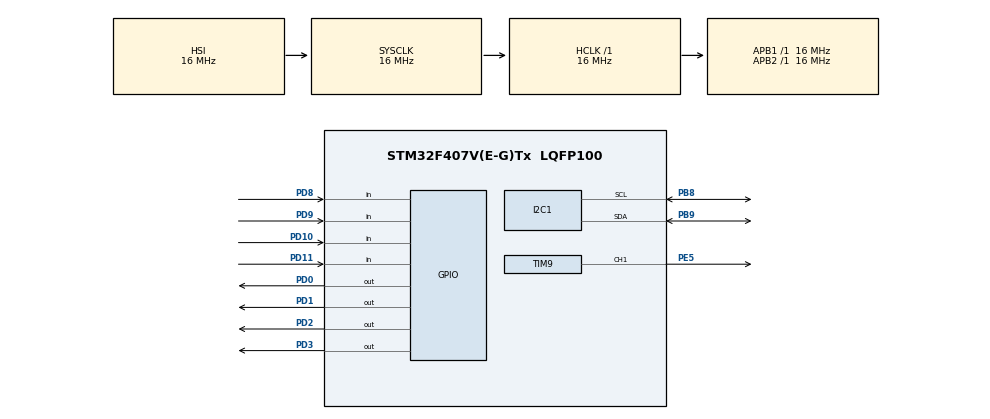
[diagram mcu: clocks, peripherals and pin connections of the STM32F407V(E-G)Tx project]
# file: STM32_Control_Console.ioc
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ADC1.Channel-0\#ChannelRegularConversion=ADC_CHANNEL_VREFINT
ADC1.NbrOfConversionFlag=1
ADC1.Rank-0\#ChannelRegularConversion=1
ADC1.SamplingTime-0\#ChannelRegularConversion=ADC_SAMPLETIME_480CYCLES
ADC1.master=1
Mcu.Family=STM32F4
Mcu.Name=STM32F407V(E-G)Tx
Mcu.Package=LQFP100
NVIC.I2C1_ER_IRQn=true\:0\:0\:false\:false\:true\:true\:true\:true
NVIC.I2C1_EV_IRQn=true\:0\:0\:false\:false\:true\:true\:true\:true
NVIC.PriorityGroup=NVIC_PRIORITYGROUP_4
PA13.Mode=Serial_Wire
PA13.Signal=SYS_JTMS-SWDIO
PA14.Mode=Serial_Wire
PA14.Signal=SYS_JTCK-SWCLK
PB8.Mode=I2C
PB8.Signal=I2C1_SCL
PB9.Mode=I2C
PB9.Signal=I2C1_SDA
PD0.GPIO_ModeDefaultOutputPP=GPIO_MODE_OUTPUT_OD
PD0.GPIO_PuPd=GPIO_NOPULL
PD0.PinState=GPIO_PIN_SET
PD0.Signal=GPIO_Output
PD1.GPIO_ModeDefaultOutputPP=GPIO_MODE_OUTPUT_OD
PD1.GPIO_PuPd=GPIO_NOPULL
PD1.PinState=GPIO_PIN_SET
PD1.Signal=GPIO_Output
PD10.GPIO_PuPd=GPIO_PULLUP
PD10.Signal=GPIO_Input
PD11.GPIO_PuPd=GPIO_PULLUP
PD11.Signal=GPIO_Input
PD2.GPIO_ModeDefaultOutputPP=GPIO_MODE_OUTPUT_OD
PD2.GPIO_PuPd=GPIO_NOPULL
PD2.PinState=GPIO_PIN_SET
PD2.Signal=GPIO_Output
PD3.GPIO_ModeDefaultOutputPP=GPIO_MODE_OUTPUT_OD
PD3.GPIO_PuPd=GPIO_NOPULL
PD3.PinState=GPIO_PIN_SET
PD3.Signal=GPIO_Output
PD8.GPIO_PuPd=GPIO_PULLUP
PD8.Signal=GPIO_Input
PD9.GPIO_PuPd=GPIO_PULLUP
PD9.Signal=GPIO_Input
PE5.Signal=S_TIM9_CH1
ProjectManager.HeapSize=0x200
ProjectManager.StackSize=0x400
ProjectManager.TargetToolchain=STM32CubeIDE
RCC.AHBFreq_Value=16000000
RCC.APB1Freq_Value=16000000
RCC.APB2Freq_Value=16000000
RCC.CortexFreq_Value=16000000
RCC.HSE_VALUE=25000000
RCC.HSI_VALUE=16000000
RCC.LSE_VALUE=32768
RCC.SYSCLKFreq_VALUE=16000000
RCC.VCOOutputFreq_Value=192000000
SH.S_TIM9_CH1.0=TIM9_CH1,PWM Generation1 CH1
TIM9.Channel-PWM\ Generation1\ CH1=TIM_CHANNEL_1
TIM9.Period=499
TIM9.Prescaler=15
VP_ADC1_TempSens_Input.Mode=IN-TempSens
VP_ADC1_Vref_Input.Mode=IN-Vrefint
board=custom

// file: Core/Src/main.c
/* USER CODE BEGIN Header */
/**
 ******************************************************************************
 * @file           : main.c
 * @brief          : Main program body
 ******************************************************************************
 * @attention
 *
 * Copyright (c) 2026 STMicroelectronics.
 * All rights reserved.
 *
 * This software is licensed under terms that can be found in the LICENSE file
 * in the root directory of this software component.
 * If no LICENSE file comes with this software, it is provided AS-IS.
 *
 ******************************************************************************
 */
/* USER CODE END Header */
#include "main.h"
#include "adc.h"
#include "i2c.h"
#include "tim.h"
#include "gpio.h"

/* USER CODE BEGIN Includes */
#include "console.h"
#include "lcd.h"
#include "led.h"
#include "buzzer.h"
#include "countdown.h"
#include "keypad.h"
/* USER CODE END Includes */

/* USER CODE BEGIN PV */

volatile HAL_StatusTypeDef console_status;
volatile HAL_StatusTypeDef lcd_status;
static uint8_t lcd_was_ready = 0U;
static uint32_t console_retry_time = 0U;

/* USER CODE END PV */

void SystemClock_Config(void);

int main(void)
{

  /* MCU Configuration--------------------------------------------------------*/

  /* Reset of all peripherals, Initializes the Flash interface and the Systick. */
  HAL_Init();

  /* Configure the system clock */
  SystemClock_Config();

  /* Initialize all configured peripherals */
  MX_GPIO_Init();
  MX_I2C1_Init();
  MX_ADC1_Init();
  MX_TIM9_Init();
  /* USER CODE BEGIN 2 */

  LedInit();
  lcd_status = LcdInit();
  console_status = HAL_OK;
  console_retry_time = HAL_GetTick();

  if (BuzzerInit() != HAL_OK) {
    Error_Handler();
  }

  CountdownReset();

  /* USER CODE END 2 */

  /* Infinite loop */
  while (1) {

    /* USER CODE BEGIN 3 */

    if (CountdownUpdate()) {
      BuzzerAlarmStart();
    }

    BuzzerUpdate();

    char key = KeypadGetKey();

    if (key == '#' && BuzzerAlarmIsActive()) {
      BuzzerAlarmStop();
      key = '\0';
    }

    lcd_status = LcdUpdate();
    if (lcd_status == HAL_OK) {
      if (!lcd_was_ready) {
        console_status = ConsoleInit();
        console_retry_time = HAL_GetTick();
        lcd_was_ready = 1U;
      }

      if (console_status == HAL_OK) {
        console_status = ConsoleUpdate(key);

        if (console_status != HAL_OK) {
          console_retry_time = HAL_GetTick();
        }
      } else if ((uint32_t)(HAL_GetTick() - console_retry_time) >= 1000U) {
        console_status = ConsoleInit();
        console_retry_time = HAL_GetTick();
      }
    } else {
      lcd_was_ready = 0U;
    }

    HAL_Delay(5);
  }

  /* USER CODE END 3 */
}

void SystemClock_Config(void)
{
  RCC_OscInitTypeDef RCC_OscInitStruct = {0};
  RCC_ClkInitTypeDef RCC_ClkInitStruct = {0};

  /** Configure the main internal regulator output voltage
  */
  __HAL_RCC_PWR_CLK_ENABLE();
  __HAL_PWR_VOLTAGESCALING_CONFIG(PWR_REGULATOR_VOLTAGE_SCALE1);

  /** Initializes the RCC Oscillators according to the specified parameters
  * in the RCC_OscInitTypeDef structure.
  */
  RCC_OscInitStruct.OscillatorType = RCC_OSCILLATORTYPE_HSI;
  RCC_OscInitStruct.HSIState = RCC_HSI_ON;
  RCC_OscInitStruct.HSICalibrationValue = RCC_HSICALIBRATION_DEFAULT;
  RCC_OscInitStruct.PLL.PLLState = RCC_PLL_NONE;
  if (HAL_RCC_OscConfig(&RCC_OscInitStruct) != HAL_OK)
  {
    Error_Handler();
  }

  /** Initializes the CPU, AHB and APB buses clocks
  */
  RCC_ClkInitStruct.ClockType = RCC_CLOCKTYPE_HCLK|RCC_CLOCKTYPE_SYSCLK
                              |RCC_CLOCKTYPE_PCLK1|RCC_CLOCKTYPE_PCLK2;
  RCC_ClkInitStruct.SYSCLKSource = RCC_SYSCLKSOURCE_HSI;
  RCC_ClkInitStruct.AHBCLKDivider = RCC_SYSCLK_DIV1;
  RCC_ClkInitStruct.APB1CLKDivider = RCC_HCLK_DIV1;
  RCC_ClkInitStruct.APB2CLKDivider = RCC_HCLK_DIV1;

  if (HAL_RCC_ClockConfig(&RCC_ClkInitStruct, FLASH_LATENCY_0) != HAL_OK)
  {
    Error_Handler();
  }
}

void Error_Handler(void)
{
  __disable_irq();
  while (1) {
  }
}
#ifdef USE_FULL_ASSERT
/**
  * @brief  Reports the name of the source file and the source line number
  *         where the assert_param error has occurred.
  * @param  file: pointer to the source file name
  * @param  line: assert_param error line source number
  * @retval None
  */
void assert_failed(uint8_t *file, uint32_t line)
{
  /* USER CODE BEGIN 6 */
  /* User can add his own implementation to report the file name and line
     number, ex: printf("Wrong parameters value: file %s on line %d\r\n", file,
     line) */
  /* USER CODE END 6 */
}
#endif /* USE_FULL_ASSERT */
